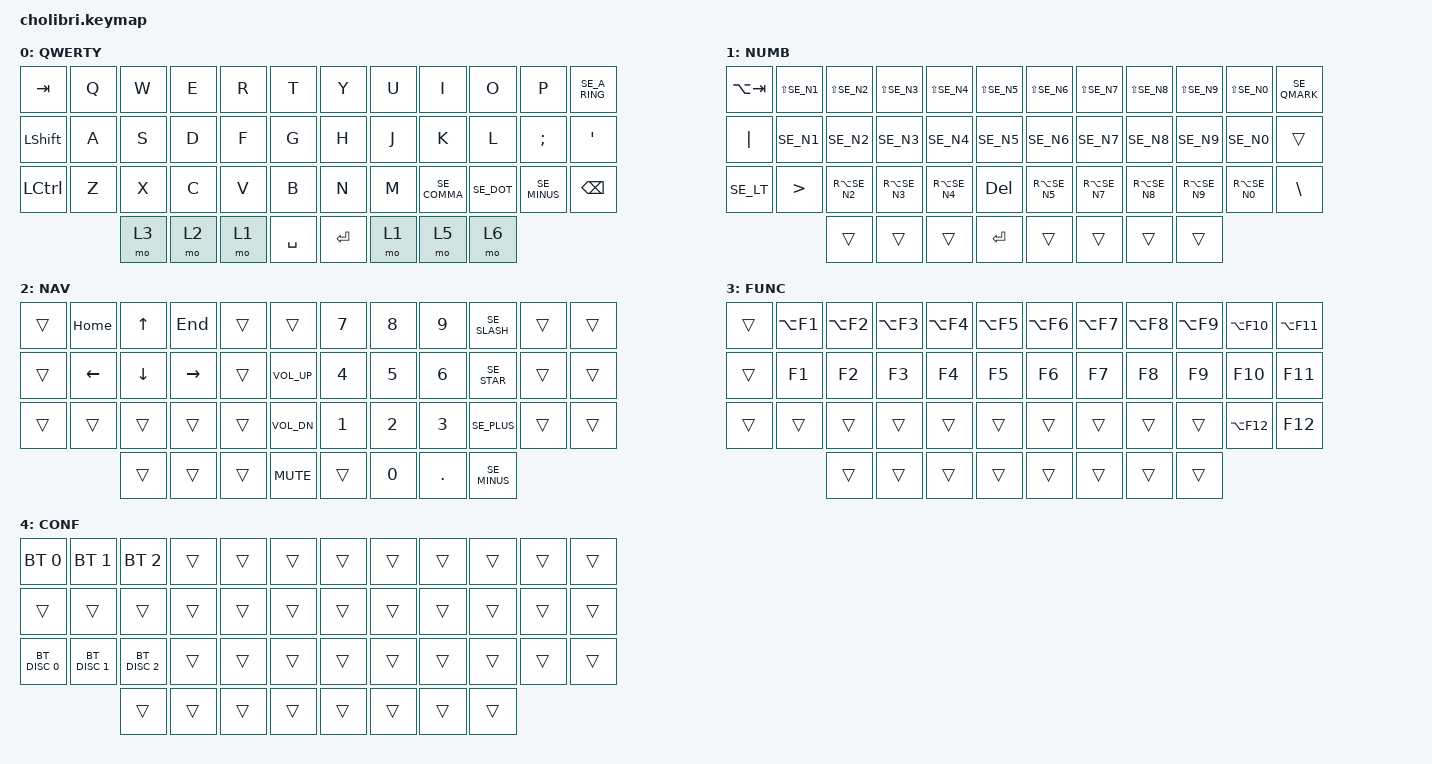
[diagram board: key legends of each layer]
#include "keys_se.h"
#include <dt-bindings/zmk/mouse.h>
#include <behaviors/mouse_keys.dtsi>
#include <behaviors.dtsi>
#include <dt-bindings/zmk/bt.h>
#include <dt-bindings/zmk/keys.h>
#include <dt-bindings/zmk/keys.h>

/ {
    combos {
        compatible = "zmk,combos";

        conf {
            bindings = <&mo 4>;
            key-positions = <38 41>;
        };

        mkp_right {
            bindings = <&mkp RCLK>;
            key-positions = <6 7>;
        };

        mkp_mdl {
            bindings = <&mkp MCLK>;
            key-positions = <18 19>;
        };

        esc {
            bindings = <&kp ESCAPE>;
            key-positions = <0 1>;
        };

        lasso {
            bindings = <&lasso>;
            key-positions = <11 10>;
        };

        lock {
            bindings = <&lock>;
            key-positions = <5 6>;
        };

        bootloader {
            bindings = <&bootloader>;
            key-positions = <6 11>;
        };
    };

    macros {
        lasso: lasso {
            compatible = "zmk,behavior-macro";
            #binding-cells = <0>;
            bindings = <&kp LS(L) &kp A &kp S &kp S &kp O &kp PRCNT>;
            label = "LASSO";
        };

        lock: lock {
            compatible = "zmk,behavior-macro";
            #binding-cells = <0>;
            bindings = <&kt LEFT_WIN &kp SE_L>;
            label = "LOCK";
        };
    };

    keymap {
        compatible = "zmk,keymap";

        QWERTY {
            // --------------------------------------------------------------------------------------------------------------------------------------------------------------------
            // |   ESC   |    Q    |    W    |    E    |    R    |    T    |                                          |    Y    |    U    |    I    |    O    |    P    |    \    |
            // |   TAB   |    A    |    S    |    D    |    F    |    G    |                                          |    H    |    J    |    K    |    L    |    ;    |    '    |
            // |  SHIFT  |    Z    |    X    |    C    |    V    |    B    |                                          |    N    |    M    |    ,    |    .    |    /    |  R CTRL |
            //                               |   GUI   |   DEL   | RETURN  |  SPACE  |                      |  SPACE  |   TAB   |   BSPC  |  R ALT  |

            bindings = <
&kp TAB         &kp Q  &kp W  &kp E  &kp R  &kp T      &kp Y      &kp U  &kp I         &kp O       &kp P         &kp SE_A_RING
&kp LEFT_SHIFT  &kp A  &kp S  &kp D  &kp F  &kp G      &kp H      &kp J  &kp K         &kp L       &kp SEMI      &kp SQT
&kp LCTRL       &kp Z  &kp X  &kp C  &kp V  &kp B      &kp N      &kp M  &kp SE_COMMA  &kp SE_DOT  &kp SE_MINUS  &kp BACKSPACE
                       &mo 3  &mo 2  &mo 1  &kp SPACE  &kp ENTER  &mo 1  &mo 5         &mo 6
            >;

            label = "QWERTY";
        };

        NUM {
            bindings = <
&kp LA(TAB)  &kp LS(SE_N1)     &kp LS(SE_N2)  &kp LS(SE_N3)  &kp LS(SE_N4)  &kp LS(SE_N5)  &kp LS(SE_N6)  &kp LS(SE_N7)  &kp LS(SE_N8)  &kp LS(SE_N9)  &kp LS(SE_N0)  &kp SE_QMARK
&kp PIPE     &kp SE_N1         &kp SE_N2      &kp SE_N3      &kp SE_N4      &kp SE_N5      &kp SE_N6      &kp SE_N7      &kp SE_N8      &kp SE_N9      &kp SE_N0      &trans
&kp SE_LT    &kp GREATER_THAN  &kp RA(SE_N2)  &kp RA(SE_N3)  &kp RA(SE_N4)  &kp DELETE     &kp RA(SE_N5)  &kp RA(SE_N7)  &kp RA(SE_N8)  &kp RA(SE_N9)  &kp RA(SE_N0)  &kp BACKSLASH
                               &trans         &trans         &trans         &kp ENTER      &trans         &trans         &trans         &trans
            >;

            label = "NUMB";
        };

        NAV {
            bindings = <
&trans  &kp HOME  &kp UP    &kp END    &trans  &trans        &kp N7  &kp N8  &kp N9   &kp SE_SLASH  &trans  &trans
&trans  &kp LEFT  &kp DOWN  &kp RIGHT  &trans  &kp C_VOL_UP  &kp N4  &kp N5  &kp N6   &kp SE_STAR   &trans  &trans
&trans  &trans    &trans    &trans     &trans  &kp C_VOL_DN  &kp N1  &kp N2  &kp N3   &kp SE_PLUS   &trans  &trans
                  &trans    &trans     &trans  &kp C_MUTE    &trans  &kp N0  &kp DOT  &kp SE_MINUS
            >;

            label = "NAV";
        };

        FUNC {
            bindings = <
&trans  &kp LA(F1)  &kp LA(F2)  &kp LA(F3)  &kp LA(F4)  &kp LA(F5)  &kp LA(F6)  &kp LA(F7)  &kp LA(F8)  &kp LA(F9)  &kp LA(F10)  &kp LA(F11)
&trans  &kp F1      &kp F2      &kp F3      &kp F4      &kp F5      &kp F6      &kp F7      &kp F8      &kp F9      &kp F10      &kp F11
&trans  &trans      &trans      &trans      &trans      &trans      &trans      &trans      &trans      &trans      &kp LA(F12)  &kp F12
                    &trans      &trans      &trans      &trans      &trans      &trans      &trans      &trans
            >;

            label = "FUNC";
        };

        CONF {
            bindings = <
&bt BT_SEL 0   &bt BT_SEL 1   &bt BT_SEL 2   &trans  &trans  &trans  &trans  &trans  &trans  &trans  &trans  &trans
&trans         &trans         &trans         &trans  &trans  &trans  &trans  &trans  &trans  &trans  &trans  &trans
&bt BT_DISC 0  &bt BT_DISC 1  &bt BT_DISC 2  &trans  &trans  &trans  &trans  &trans  &trans  &trans  &trans  &trans
                              &trans         &trans  &trans  &trans  &trans  &trans  &trans  &trans
            >;

            label = "CONF";
        };
    };
};
